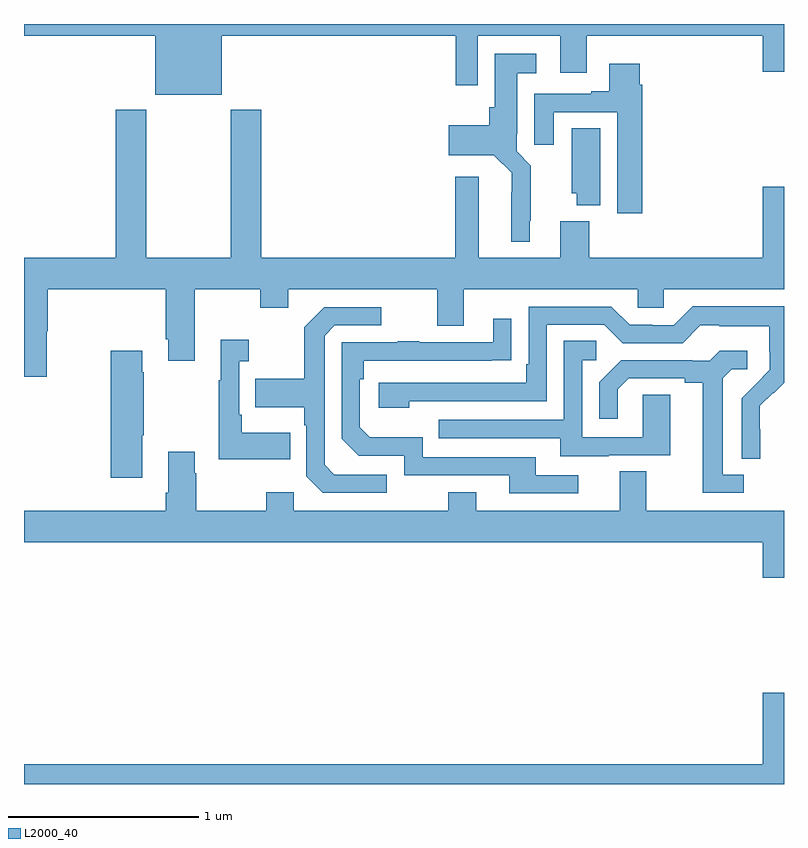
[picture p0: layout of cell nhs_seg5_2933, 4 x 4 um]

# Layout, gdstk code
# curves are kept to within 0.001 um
import gdstk
lib = gdstk.Library(unit=1e-6, precision=1e-09)
def P(c, l, *ps):  # polygons
    for p in ps: c.add(gdstk.Polygon(p, *l))
L2000_40 = (2000, 40)

nhs_seg5_2933 = lib.new_cell('nhs_seg5_2933')
P(nhs_seg5_2933, L2000_40, [(282.04,880.736),(283.273,880.736),(283.273,880.476),(283.389,880.476),(283.389,880.736),(283.823,880.736),(283.823,880.542),(283.963,880.542),(283.963,880.736),(284.888,880.736),(284.888,880.548),(285,880.548),(285,880.799),(281,880.799),(281,880.736),(281.69,880.736),(281.69,880.427),(282.04,880.427)],
  [(283.663,879.763),(283.667,879.763),(283.667,880.054),(283.593,880.128),(283.593,880.222),(283.597,880.222),(283.597,880.541),(283.696,880.541),(283.696,880.642),(283.478,880.642),(283.478,880.362),(283.448,880.362),(283.448,880.267),(283.236,880.267),(283.236,880.109),(283.473,880.109),(283.566,880.016),(283.565,879.653),(283.663,879.653)],
  [(284.255,880.478),(284.242,880.478),(284.242,880.591),(284.081,880.591),(284.081,880.444),(283.985,880.444),(283.985,880.431),(283.685,880.431),(283.685,880.164),(283.789,880.164),(283.789,880.335),(284.123,880.335),(284.123,879.804),(284.255,879.804)],
  [(284.229,879.306),(284.367,879.306),(284.367,879.404),(285,879.404),(285,879.943),(284.888,879.943),(284.888,879.568),(283.976,879.568),(283.976,879.76),(283.823,879.76),(283.823,879.568),(283.393,879.568),(283.393,879.994),(283.271,879.994),(283.271,879.568),(282.248,879.568),(282.248,880.348),(282.088,880.348),(282.088,879.568),(281.643,879.568),(281.643,880.348),(281.483,880.348),(281.483,879.568),(281,879.568),(281,878.943),(281.121,878.943),(281.121,879.182),(281.126,879.182),(281.126,879.404),(281.747,879.404),(281.747,879.139),(281.759,879.139),(281.759,879.027),(281.899,879.027),(281.899,879.404),(282.244,879.404),(282.244,879.305),(282.391,879.305),(282.391,879.404),(283.175,879.404),(283.175,879.21),(283.315,879.21),(283.315,879.404),(284.229,879.404)],
  [(284.032,880.25),(283.883,880.25),(283.883,879.909),(283.91,879.909),(283.91,879.845),(284.032,879.845)],
  [(284.874,878.666),(284.873,878.789),(284.943,878.859),(284.946,878.856),(285,878.91),(285,879.313),(284.521,879.313),(284.421,879.213),(284.306,879.213),(284.306,879.216),(284.187,879.216),(284.091,879.312),(283.656,879.312),(283.656,879.007),(283.643,879.007),(283.643,878.91),(282.867,878.91),(282.867,878.78),(283.028,878.78),(283.028,878.814),(283.752,878.814),(283.752,879.216),(284.055,879.216),(284.151,879.12),(284.466,879.12),(284.559,879.213),(284.659,879.213),(284.659,879.209),(284.922,879.209),(284.922,879.075),(284.924,879.075),(284.924,878.978),(284.778,878.83),(284.778,878.512),(284.874,878.512)],
  [(282.91,878.427),(282.633,878.427),(282.582,878.478),(282.582,879.159),(282.636,879.213),(282.88,879.213),(282.88,879.309),(282.579,879.309),(282.474,879.203),(282.474,878.931),(282.217,878.931),(282.217,878.783),(282.474,878.783),(282.474,878.687),(282.486,878.687),(282.486,878.418),(282.573,878.331),(282.91,878.331)],
  [(283.918,878.424),(283.693,878.424),(283.693,878.52),(283.098,878.52),(283.098,878.623),(282.821,878.623),(282.768,878.676),(282.768,878.93),(282.788,878.93),(282.788,879.027),(283.565,879.028),(283.565,879.247),(283.469,879.247),(283.469,879.123),(283.079,879.123),(283.079,879.128),(282.967,879.128),(282.967,879.123),(282.672,879.123),(282.672,878.616),(282.762,878.526),(283.002,878.526),(283.002,878.424),(283.553,878.424),(283.553,878.328),(283.918,878.328)],
  [(282.401,878.647),(282.145,878.647),(282.145,878.743),(282.132,878.743),(282.132,879.023),(282.184,879.023),(282.184,879.136),(282.035,879.136),(282.035,878.923),(282.024,878.923),(282.024,878.507),(282.401,878.507)],
  [(284.077,878.529),(284.401,878.529),(284.401,878.849),(284.256,878.849),(284.256,878.625),(283.938,878.625),(283.938,879.03),(284.011,879.03),(284.011,879.131),(283.842,879.131),(283.842,878.715),(283.183,878.715),(283.183,878.619),(283.823,878.619),(283.823,878.525),(284.077,878.525)],
  [(281.623,878.635),(281.631,878.635),(281.631,878.966),(281.623,878.966),(281.623,879.079),(281.456,879.079),(281.456,878.412),(281.623,878.412)],
  [(284.788,878.427),(284.677,878.427),(284.677,878.935),(284.724,878.982),(284.806,878.982),(284.806,879.079),(284.662,879.079),(284.61,879.027),(284.516,879.027),(284.516,879.03),(284.144,879.03),(284.028,878.914),(284.028,878.721),(284.125,878.721),(284.125,878.877),(284.182,878.934),(284.477,878.934),(284.477,878.912),(284.573,878.912),(284.573,878.331),(284.788,878.331)],
  [(285,878.236),(284.275,878.236),(284.275,878.444),(284.135,878.444),(284.135,878.236),(283.381,878.236),(283.381,878.335),(283.234,878.335),(283.234,878.236),(282.42,878.236),(282.42,878.335),(282.274,878.335),(282.274,878.236),(281.907,878.236),(281.907,878.435),(281.899,878.435),(281.899,878.548),(281.759,878.548),(281.759,878.332),(281.747,878.332),(281.747,878.236),(281,878.236),(281,878.072),(284.888,878.072),(284.888,877.884),(285,877.884)],
  [(285,877.279),(284.888,877.279),(284.888,876.904),(281,876.904),(281,876.799),(285,876.799)])

lib.write_gds('nhs_seg5_2933.gds')
